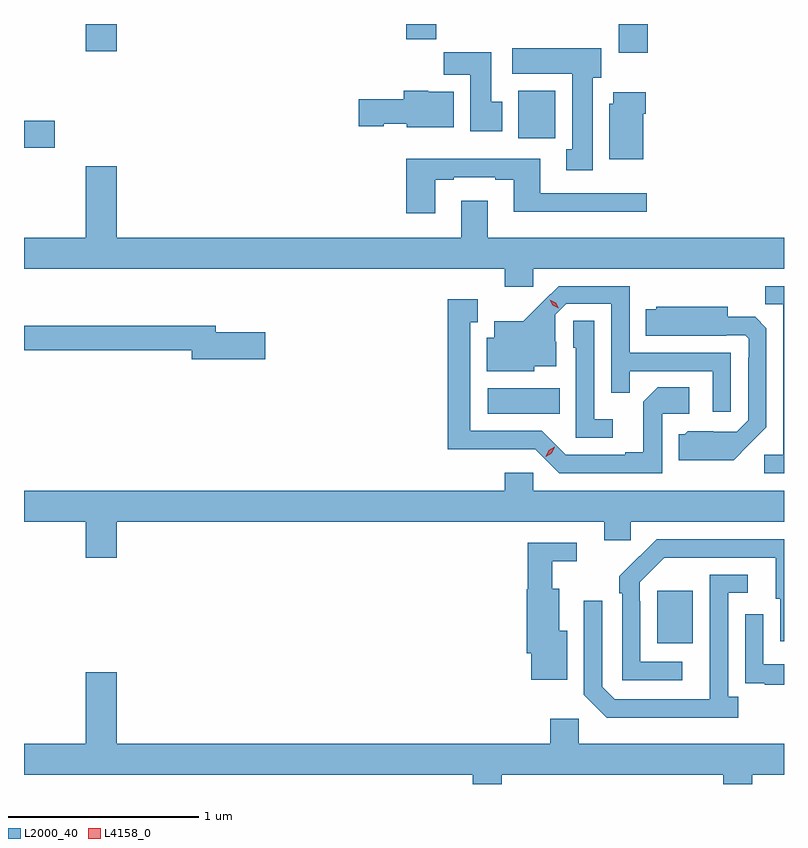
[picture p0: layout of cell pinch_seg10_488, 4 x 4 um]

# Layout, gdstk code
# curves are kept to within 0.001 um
import gdstk
lib = gdstk.Library(unit=1e-6, precision=1e-09)
def R(c, l, rs):  # rectangles x0, y0, x1, y1
    for r in rs: c.add(gdstk.rectangle(r[:2], r[2:], *l))
def P(c, l, *ps):  # polygons
    for p in ps: c.add(gdstk.Polygon(p, *l))
L2000_40 = (2000, 40)
L4158_0 = (4158, 0)

pinch_seg10_488 = lib.new_cell('pinch_seg10_488')
R(pinch_seg10_488, L2000_40, [(215.969,1250.393,216.157,1250.668), (215.076,1251.602,215.456,1251.736), (212.636,1253.002,212.797,1253.144), (215.237,1253.052,215.433,1253.302), (215.765,1253.502,215.918,1253.652), (212.96,1253.508,213.124,1253.652), (214.649,1253.572,214.805,1253.652)])
P(pinch_seg10_488, L2000_40, [(215.629,1253.37),(215.674,1253.37),(215.674,1253.524),(215.205,1253.524),(215.205,1253.39),(215.522,1253.39),(215.522,1252.993),(215.489,1252.993),(215.489,1252.881),(215.629,1252.881)],
  [(215.152,1253.244),(215.095,1253.244),(215.095,1253.503),(214.846,1253.503),(214.846,1253.384),(214.985,1253.384),(214.985,1253.088),(215.152,1253.088)],
  [(214.897,1253.296),(214.764,1253.296),(214.764,1253.302),(214.634,1253.302),(214.634,1253.256),(214.398,1253.256),(214.398,1253.114),(214.53,1253.114),(214.53,1253.126),(214.65,1253.126),(214.65,1253.108),(214.897,1253.108)],
  [(215.896,1253.18),(215.909,1253.18),(215.909,1253.293),(215.738,1253.293),(215.738,1253.232),(215.717,1253.232),(215.717,1252.94),(215.896,1252.94)],
  [(214.801,1252.833),(214.897,1252.833),(214.897,1252.845),(215.117,1252.845),(215.117,1252.833),(215.213,1252.833),(215.213,1252.664),(215.914,1252.664),(215.914,1252.761),(215.353,1252.761),(215.353,1252.942),(214.649,1252.942),(214.649,1252.656),(214.801,1252.656)],
  [(215.316,1252.364),(216.636,1252.364),(216.636,1252.528),(215.077,1252.528),(215.077,1252.723),(214.937,1252.723),(214.937,1252.528),(213.124,1252.528),(213.124,1252.903),(212.96,1252.903),(212.96,1252.528),(212.636,1252.528),(212.636,1252.364),(215.165,1252.364),(215.165,1252.269),(215.316,1252.269)],
  [(216.636,1252.272),(216.538,1252.272),(216.538,1252.177),(216.633,1252.177),(216.633,1251.384),(216.531,1251.384),(216.531,1251.288),(216.636,1251.288)],
  [(216.357,1251.921),(215.823,1251.921),(215.823,1252.272),(215.45,1252.272),(215.263,1252.087),(215.111,1252.087),(215.111,1252),(215.072,1252),(215.072,1251.824),(215.322,1251.824),(215.322,1251.851),(215.437,1251.851),(215.437,1251.98),(215.433,1251.98),(215.433,1252.122),(215.49,1252.179),(215.727,1252.179),(215.727,1251.712),(215.825,1251.712),(215.825,1251.825),(216.261,1251.825),(216.261,1251.612),(216.357,1251.612)],
  [(215.994,1251.6),(216.136,1251.6),(216.136,1251.74),(215.971,1251.74),(215.895,1251.664),(215.895,1251.397),(215.801,1251.397),(215.801,1251.384),(215.487,1251.384),(215.361,1251.51),(214.984,1251.51),(214.984,1252.083),(215.023,1252.083),(215.023,1252.204),(214.866,1252.204),(214.866,1251.413),(215.328,1251.414),(215.454,1251.288),(215.994,1251.288)],
  [(216.451,1251.437),(216.543,1251.53),(216.543,1252.052),(216.484,1252.111),(216.34,1252.111),(216.34,1252.165),(215.964,1252.165),(215.964,1252.15),(215.908,1252.15),(215.908,1252.01),(216.332,1252.01),(216.332,1252.014),(216.432,1252.014),(216.45,1251.996),(216.45,1251.896),(216.447,1251.896),(216.447,1251.567),(216.387,1251.507),(216.13,1251.508),(216.114,1251.492),(216.083,1251.492),(216.083,1251.356),(216.371,1251.356)],
  [(215.734,1251.571),(215.637,1251.571),(215.637,1252.091),(215.526,1252.091),(215.526,1251.948),(215.541,1251.948),(215.541,1251.474),(215.734,1251.474)],
  [(213.907,1252.029),(213.646,1252.029),(213.646,1252.063),(212.636,1252.063),(212.636,1251.934),(213.518,1251.934),(213.518,1251.887),(213.907,1251.887)],
  [(213.124,1251.032),(215.69,1251.032),(215.69,1250.934),(215.829,1250.934),(215.829,1251.032),(216.636,1251.032),(216.636,1251.196),(215.316,1251.196),(215.316,1251.289),(215.165,1251.289),(215.165,1251.196),(212.636,1251.196),(212.636,1251.032),(212.96,1251.032),(212.96,1250.844),(213.124,1250.844)],
  [(216.1,1250.295),(215.88,1250.295),(215.88,1250.615),(215.877,1250.615),(215.877,1250.715),(216.006,1250.844),(216.593,1250.844),(216.593,1250.628),(216.617,1250.628),(216.617,1250.403),(216.636,1250.403),(216.636,1250.94),(215.966,1250.94),(215.769,1250.745),(215.769,1250.657),(215.784,1250.657),(215.784,1250.199),(216.1,1250.199)],
  [(215.494,1250.458),(215.452,1250.458),(215.452,1250.68),(215.416,1250.68),(215.416,1250.825),(215.545,1250.825),(215.545,1250.922),(215.287,1250.922),(215.287,1250.676),(215.282,1250.676),(215.282,1250.34),(215.306,1250.34),(215.306,1250.201),(215.494,1250.201)],
  [(216.394,1250.11),(216.342,1250.11),(216.342,1250.658),(216.445,1250.658),(216.445,1250.754),(216.246,1250.754),(216.245,1250.097),(215.745,1250.097),(215.679,1250.163),(215.679,1250.617),(215.583,1250.617),(215.583,1250.121),(215.704,1250),(216.394,1250)],
  [(216.636,1250.283),(216.528,1250.283),(216.528,1250.545),(216.432,1250.545),(216.432,1250.29),(216.433,1250.29),(216.433,1250.181),(216.535,1250.181),(216.535,1250.175),(216.636,1250.175)],
  [(215.15,1249.7),(216.317,1249.7),(216.317,1249.652),(216.47,1249.652),(216.47,1249.7),(216.636,1249.7),(216.636,1249.864),(215.556,1249.864),(215.556,1249.996),(215.405,1249.996),(215.405,1249.864),(213.124,1249.864),(213.124,1250.239),(212.96,1250.239),(212.96,1249.864),(212.636,1249.864),(212.636,1249.7),(214.998,1249.7),(214.998,1249.652),(215.15,1249.652)])
P(pinch_seg10_488, L4158_0, [(215.451,1252.156),(215.42,1252.171),(215.403,1252.201),(215.403,1252.202),(215.403,1252.202),(215.434,1252.186),(215.451,1252.156),(215.451,1252.156)],
  [(215.382,1251.375),(215.382,1251.375),(215.399,1251.408),(215.43,1251.427),(215.43,1251.427),(215.43,1251.427),(215.413,1251.394),(215.382,1251.375)])

lib.write_gds('pinch_seg10_488.gds')
